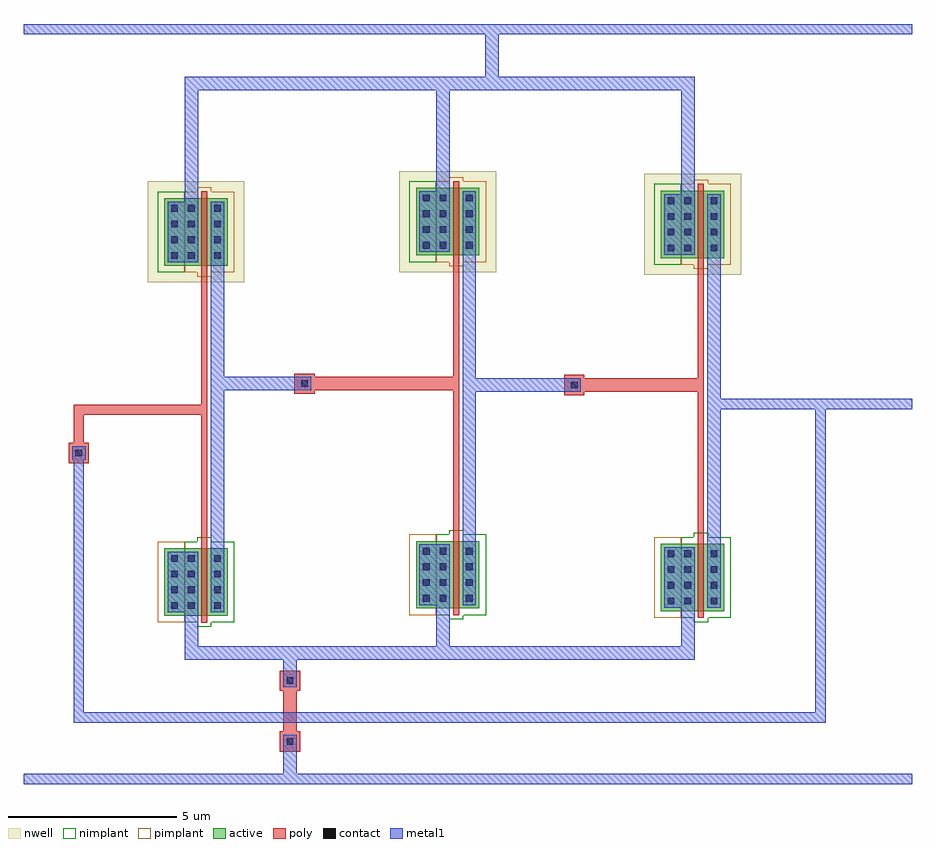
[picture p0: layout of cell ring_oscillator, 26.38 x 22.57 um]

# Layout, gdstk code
import gdstk
lib = gdstk.Library(unit=1e-6, precision=5e-10)
def R(c, l, rs):  # rectangles x0, y0, x1, y1
    for r in rs: c.add(gdstk.rectangle(r[:2], r[2:], *l))
def A(c, l, x, y, w, h, nx, ny, dx, dy):  # array of equal rectangles
    R(c, l, [(x+i*dx, y+j*dy, x+i*dx+w, y+j*dy+h) for i in range(nx) for j in range(ny)])
active = (1, 0)
nwell = (2, 0)
poly = (3, 0)
nimplant = (4, 0)
pimplant = (5, 0)
contact = (6, 0)
metal1 = (7, 0)

pmos_cdns_741432290070 = lib.new_cell('pmos_CDNS_741432290070')
R(pmos_cdns_741432290070, active, [(-1.1,0,0,2), (0,0,0.18,2), (0.18,0,0.78,2)])
R(pmos_cdns_741432290070, nwell, [(-1.6,-0.5,1.28,2.5)])
R(pmos_cdns_741432290070, poly, [(0,-0.205,0.18,-0.2), (0,-0.2,0.18,0), (0,0,0.18,2), (0,2,0.18,2.2), (0,2.2,0.18,2.205)])
R(pmos_cdns_741432290070, nimplant, [(-1.3,-0.2,-0.5,2.2)])
R(pmos_cdns_741432290070, pimplant, [(-0.12,-0.325,0.3,-0.2), (-0.5,-0.2,0.98,2.2), (-0.12,2.2,0.3,2.325)])
A(pmos_cdns_741432290070, contact, -0.9, 0.67, 0.2, 0.2, 1, 3, 0, 0.465)
A(pmos_cdns_741432290070, contact, -0.4, 0.67, 0.2, 0.2, 1, 3, 0, 0.465)
A(pmos_cdns_741432290070, contact, 0.38, 0.67, 0.2, 0.2, 1, 3, 0, 0.465)
R(pmos_cdns_741432290070, contact, [(-0.9,0.2,-0.7,0.4), (-0.4,0.2,-0.2,0.4), (0.38,0.2,0.58,0.4)])
R(pmos_cdns_741432290070, metal1, [(-1,0.1,-0.1,1.9), (-1,0.1,-0.1,1.9), (0.28,0.1,0.68,1.9)])

nmos_cdns_741432290071 = lib.new_cell('nmos_CDNS_741432290071')
R(nmos_cdns_741432290071, active, [(-1.1,0,0,2), (0,0,0.18,2), (0.18,0,0.78,2)])
R(nmos_cdns_741432290071, poly, [(0,-0.205,0.18,-0.2), (0,-0.2,0.18,0), (0,0,0.18,2), (0,2,0.18,2.2), (0,2.2,0.18,2.205)])
R(nmos_cdns_741432290071, nimplant, [(-0.12,-0.325,0.3,-0.2), (-0.5,-0.2,0.98,2.2), (-0.12,2.2,0.3,2.325)])
R(nmos_cdns_741432290071, pimplant, [(-1.3,-0.2,-0.5,2.2)])
A(nmos_cdns_741432290071, contact, -0.9, 0.67, 0.2, 0.2, 1, 3, 0, 0.465)
A(nmos_cdns_741432290071, contact, -0.4, 0.67, 0.2, 0.2, 1, 3, 0, 0.465)
A(nmos_cdns_741432290071, contact, 0.38, 0.67, 0.2, 0.2, 1, 3, 0, 0.465)
R(nmos_cdns_741432290071, contact, [(-0.9,0.2,-0.7,0.4), (-0.4,0.2,-0.2,0.4), (0.38,0.2,0.58,0.4)])
R(nmos_cdns_741432290071, metal1, [(-1,0.1,-0.1,1.9), (-1,0.1,-0.1,1.9), (0.28,0.1,0.68,1.9)])

m1_poly1_cdns_7414322900 = lib.new_cell('M1_POLY1_CDNS_741432290070')
R(m1_poly1_cdns_7414322900, poly, [(-0.3,-0.3,0.3,0.3)])
R(m1_poly1_cdns_7414322900, contact, [(-0.1,-0.1,0.1,0.1)])
R(m1_poly1_cdns_7414322900, metal1, [(-0.2,-0.2,0.2,0.2)])

ring_oscillator = lib.new_cell('ring_oscillator')
R(ring_oscillator, metal1, [(0,0,26.375,0.3), (26.075,11.135,26.375,11.435), (0,22.27,26.375,22.57)])
ring_oscillator.add(gdstk.FlexPath([(7.9,3.07),(7.9,1.26)], 0.4, ends="flush", simple_path=True, layer=3, datatype=0))  # poly
ring_oscillator.add(gdstk.FlexPath([(5.36,15.19),(5.36,11.115)], 0.18, ends=(0, 0.15), simple_path=True, layer=3, datatype=0))  # poly
ring_oscillator.add(gdstk.FlexPath([(1.63,11.115),(5.36,11.115)], 0.3, ends=(0.15, 0.09), simple_path=True, layer=3, datatype=0))  # poly
ring_oscillator.add(gdstk.FlexPath([(1.63,9.83),(1.63,11.115)], 0.3, ends=(0, 0.15), simple_path=True, layer=3, datatype=0))  # poly
ring_oscillator.add(gdstk.FlexPath([(20.105,15.415),(20.105,11.85)], 0.18, ends=(0, 0.2), simple_path=True, layer=3, datatype=0))  # poly
ring_oscillator.add(gdstk.FlexPath([(16.34,11.85),(20.105,11.85)], 0.4, ends=(0, 0.09), simple_path=True, layer=3, datatype=0))  # poly
ring_oscillator.add(gdstk.FlexPath([(12.835,15.495),(12.835,11.89)], 0.18, ends=(0, 0.2), simple_path=True, layer=3, datatype=0))  # poly
ring_oscillator.add(gdstk.FlexPath([(8.335,11.89),(12.835,11.89)], 0.4, ends=(0, 0.09), simple_path=True, layer=3, datatype=0))  # poly
ring_oscillator.add(gdstk.FlexPath([(5.36,11.115),(5.36,7.205)], 0.18, ends=(0.15, 0), simple_path=True, layer=3, datatype=0))  # poly
ring_oscillator.add(gdstk.FlexPath([(12.835,11.89),(12.835,7.42)], 0.18, ends=(0.2, 0), simple_path=True, layer=3, datatype=0))  # poly
ring_oscillator.add(gdstk.FlexPath([(20.105,11.85),(20.105,7.34)], 0.18, ends=(0.2, 0), simple_path=True, layer=3, datatype=0))  # poly
ring_oscillator.add(gdstk.FlexPath([(7.9,1.26),(7.9,0.3)], 0.4, ends="flush", simple_path=True, layer=7, datatype=0))  # metal1
ring_oscillator.add(gdstk.FlexPath([(7.9,3.89),(7.9,3.07)], 0.4, ends=(0.2, 0), simple_path=True, layer=7, datatype=0))  # metal1
ring_oscillator.add(gdstk.FlexPath([(7.9,3.89),(12.445,3.89)], 0.4, ends="extended", simple_path=True, layer=7, datatype=0))  # metal1
ring_oscillator.add(gdstk.FlexPath([(4.97,3.89),(7.9,3.89)], 0.4, ends="extended", simple_path=True, layer=7, datatype=0))  # metal1
ring_oscillator.add(gdstk.FlexPath([(12.445,5.315),(12.445,3.89)], 0.4, ends=(0, 0.2), simple_path=True, layer=7, datatype=0))  # metal1
ring_oscillator.add(gdstk.FlexPath([(19.715,3.89),(19.715,5.235)], 0.4, ends=(0.2, 0), simple_path=True, layer=7, datatype=0))  # metal1
ring_oscillator.add(gdstk.FlexPath([(12.445,3.89),(19.715,3.89)], 0.4, ends="extended", simple_path=True, layer=7, datatype=0))  # metal1
ring_oscillator.add(gdstk.FlexPath([(4.97,5.1),(4.97,3.89)], 0.4, ends=(0, 0.2), simple_path=True, layer=7, datatype=0))  # metal1
ring_oscillator.add(gdstk.FlexPath([(1.63,1.975),(1.63,9.83)], 0.3, ends=(0.15, 0), simple_path=True, layer=7, datatype=0))  # metal1
ring_oscillator.add(gdstk.FlexPath([(23.655,1.975),(1.63,1.975)], 0.3, ends="extended", simple_path=True, layer=7, datatype=0))  # metal1
ring_oscillator.add(gdstk.FlexPath([(23.655,11.285),(23.655,1.975)], 0.3, ends="extended", simple_path=True, layer=7, datatype=0))  # metal1
ring_oscillator.add(gdstk.FlexPath([(23.655,11.285),(20.495,11.285)], 0.3, ends=(0.15, 0.2), simple_path=True, layer=7, datatype=0))  # metal1
ring_oscillator.add(gdstk.FlexPath([(20.495,15.72),(20.495,11.285)], 0.4, ends=(0, 0.15), simple_path=True, layer=7, datatype=0))  # metal1
ring_oscillator.add(gdstk.FlexPath([(26.075,11.285),(23.655,11.285)], 0.3, ends=(0, 0.15), simple_path=True, layer=7, datatype=0))  # metal1
ring_oscillator.add(gdstk.FlexPath([(13.905,20.805),(13.905,22.27)], 0.4, ends=(0.2, 0), simple_path=True, layer=7, datatype=0))  # metal1
ring_oscillator.add(gdstk.FlexPath([(13.905,20.805),(19.72,20.805)], 0.4, ends="extended", simple_path=True, layer=7, datatype=0))  # metal1
ring_oscillator.add(gdstk.FlexPath([(4.97,20.805),(12.445,20.805)], 0.4, ends="extended", simple_path=True, layer=7, datatype=0))  # metal1
ring_oscillator.add(gdstk.FlexPath([(12.445,17.6),(12.445,20.805)], 0.4, ends=(0, 0.2), simple_path=True, layer=7, datatype=0))  # metal1
ring_oscillator.add(gdstk.FlexPath([(19.72,20.805),(19.72,17.52)], 0.4, ends=(0.2, 0), simple_path=True, layer=7, datatype=0))  # metal1
ring_oscillator.add(gdstk.FlexPath([(12.445,20.805),(13.905,20.805)], 0.4, ends="extended", simple_path=True, layer=7, datatype=0))  # metal1
ring_oscillator.add(gdstk.FlexPath([(4.97,17.295),(4.97,20.805)], 0.4, ends=(0, 0.2), simple_path=True, layer=7, datatype=0))  # metal1
ring_oscillator.add(gdstk.FlexPath([(13.225,11.85),(16.34,11.85)], 0.4, ends=(0.2, 0), simple_path=True, layer=7, datatype=0))  # metal1
ring_oscillator.add(gdstk.FlexPath([(13.225,11.85),(13.225,7.115)], 0.4, ends=(0.2, 0), simple_path=True, layer=7, datatype=0))  # metal1
ring_oscillator.add(gdstk.FlexPath([(5.75,11.89),(8.335,11.89)], 0.4, ends=(0.2, 0), simple_path=True, layer=7, datatype=0))  # metal1
ring_oscillator.add(gdstk.FlexPath([(5.75,11.89),(5.75,6.9)], 0.4, ends=(0.2, 0), simple_path=True, layer=7, datatype=0))  # metal1
ring_oscillator.add(gdstk.FlexPath([(5.75,15.495),(5.75,11.89)], 0.4, ends=(0, 0.2), simple_path=True, layer=7, datatype=0))  # metal1
ring_oscillator.add(gdstk.FlexPath([(13.225,15.8),(13.225,11.85)], 0.4, ends=(0, 0.2), simple_path=True, layer=7, datatype=0))  # metal1
ring_oscillator.add(gdstk.FlexPath([(20.495,11.285),(20.495,7.035)], 0.4, ends=(0.15, 0), simple_path=True, layer=7, datatype=0))  # metal1
ring_oscillator.add(gdstk.Reference(pmos_cdns_741432290070, (20.015,15.62)))
ring_oscillator.add(gdstk.Reference(pmos_cdns_741432290070, (12.745,15.7)))
ring_oscillator.add(gdstk.Reference(pmos_cdns_741432290070, (5.27,15.395)))
ring_oscillator.add(gdstk.Reference(nmos_cdns_741432290071, (20.015,5.135)))
ring_oscillator.add(gdstk.Reference(nmos_cdns_741432290071, (12.745,5.215)))
ring_oscillator.add(gdstk.Reference(nmos_cdns_741432290071, (5.27,5)))
ring_oscillator.add(gdstk.Reference(m1_poly1_cdns_7414322900, (7.9,1.26)))
ring_oscillator.add(gdstk.Reference(m1_poly1_cdns_7414322900, (7.9,3.07)))
ring_oscillator.add(gdstk.Reference(m1_poly1_cdns_7414322900, (1.63,9.83)))
ring_oscillator.add(gdstk.Reference(m1_poly1_cdns_7414322900, (16.34,11.85)))
ring_oscillator.add(gdstk.Reference(m1_poly1_cdns_7414322900, (8.335,11.89)))

lib.write_gds('ring_oscillator.gds')
